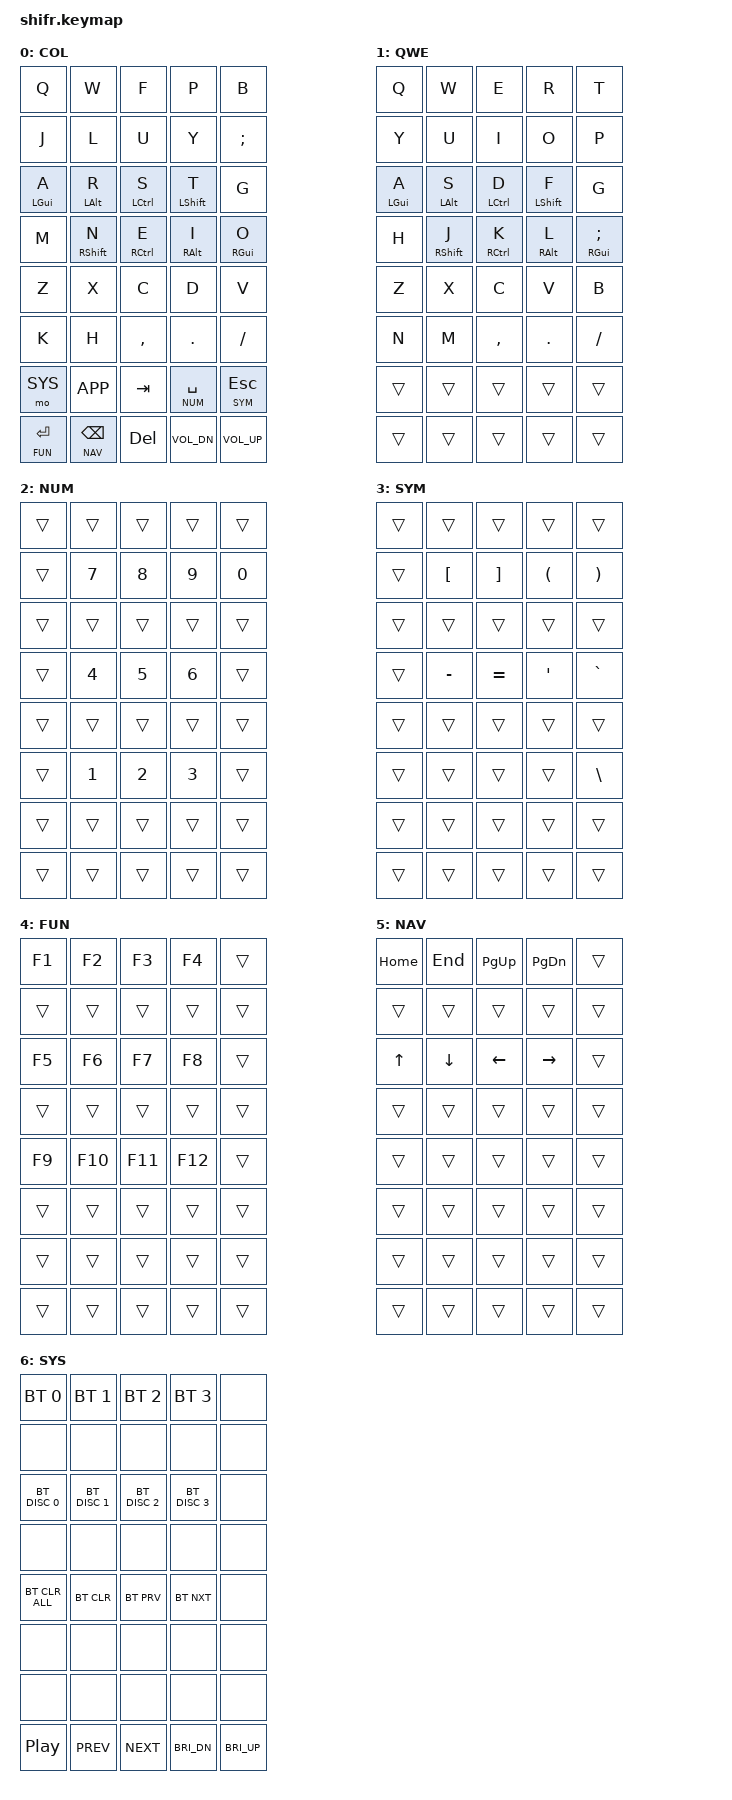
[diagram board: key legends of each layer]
#include <behaviors.dtsi>
#include <dt-bindings/zmk/bt.h>
#include <dt-bindings/zmk/keys.h>

#define COL 0
#define QWE 1
#define NUM 2
#define SYM 3
#define FUN 4
#define NAV 5
#define SYS 6

&lt {
    tapping-term-ms = <200>;
};

/ {

    behaviors {
        hm: homerow_mods {
            compatible = "zmk,behavior-hold-tap";
            #binding-cells = <2>;
            tapping-term-ms = <150>;
            quick-tap-ms = <0>;
            flavor = "tap-preferred";
            bindings = <&kp>, <&kp>;
        };
    };

/*-----------------------------------------------------Combos
│   Sleep   │     │     │     │     │     │     │PrintScreen│
│ Caps Lock │     │     │     │     │     │     │   Insert  │
│  Layouts  │     │     │     │     │     │     │Pause Break│
│ SYS │ MNU │ TAB │ SPC │ ESC │ ENT │ BKS │ DEL │    Mute   │
\----------------------------------------------------------*/

    combos {
        compatible = "zmk,combos";

        Sleep {
            bindings = <&kp C_SLEEP>;
            key-positions = <0 1>;
            layers = <COL QWE>;
        };

        CapsLock {
            bindings = <&kp CAPS>;
            key-positions = <10 11>;
            layers = <COL QWE>;
        };

        QWERTY {
            bindings = <&to QWE>;
            key-positions = <20 21>;
            layers = <COL>;
        };

        ColemakDH {
            bindings = <&to COL>;
            key-positions = <20 21>;
            layers = <QWE>;
        };

        PrintScreen {
            bindings = <&kp PSCRN>;
            key-positions = <8 9>;
            layers = <COL QWE>;
        };

        Insert {
            bindings = <&kp INS>;
            key-positions = <18 19>;
            layers = <COL QWE>;
        };

        PauseBreak {
            bindings = <&kp PAUSE_BREAK>;
            key-positions = <28 29>;
            layers = <COL QWE>;
        };

        Mute {
            bindings = <&kp C_MUTE>;
            key-positions = <38 39>;
            layers = <COL QWE>;
        };
    };

    keymap {
        compatible = "zmk,keymap";

/*--------------------------------------------------ColemakDH
│  Q  │  W  │  F  │  P  │  B  │  J  │  L  │  U  │  Y  │ ; : │
│GUI A│ALT R│CTR S│SHF T│  G  │  M  │SHF N│CTR E│ALT I│GUI O│
│  Z  │  X  │  C  │  D  │  V  │  K  │  H  │ , < │ . > │ / ? │
│ SYS │ MNU │ TAB │ SPC │ ESC │ ENT │ BKS │ DEL │ VOL-│ VOL+│
\----------------------------------------------------------*/

        COL {
            bindings = <
                &kp Q        &kp W         &kp F        &kp P          &kp B
                &kp J        &kp L         &kp U        &kp Y          &kp SEMI
                &hm LGUI A   &hm LALT R    &hm LCTRL S  &hm LSHFT T    &kp G
                &kp M        &hm RSHFT N   &hm RCTRL E  &hm RALT I     &hm RGUI O
                &kp Z        &kp X         &kp C        &kp D          &kp V
                &kp K        &kp H         &kp COMMA    &kp DOT        &kp FSLH
                &mo SYS      &kp K_APP     &kp TAB      &lt NUM SPACE  &lt SYM ESC
                &lt FUN RET  &lt NAV BSPC  &kp DEL      &kp C_VOL_DN   &kp C_VOL_UP
            >;
        };

/*-----------------------------------------------------QWERTY
│  Q  │  W  │  E  │  R  │  T  │  Y  │  U  │  I  │  O  │  P  │
│GUI A│ALT S│CTR D│SHF F│  G  │  H  │SHF J│CTR K│ALT L│GUI ;│
│  Z  │  X  │  C  │  V  │  B  │  N  │  M  │ , < │ . > │ / ? │
│ SYS │ MNU │ TAB │ SPC │ ESC │ ENT │ BKS │ DEL │ VOL-│ VOL+│
\----------------------------------------------------------*/

        QWE {
            bindings = <
                &kp Q       &kp W        &kp E        &kp R        &kp T
                &kp Y       &kp U        &kp I        &kp O        &kp P
                &hm LGUI A  &hm LALT S   &hm LCTRL D  &hm LSHFT F  &kp G
                &kp H       &hm RSHFT J  &hm RCTRL K  &hm RALT L   &hm RGUI SEMI
                &kp Z       &kp X        &kp C        &kp V        &kp B
                &kp N       &kp M        &kp COMMA    &kp DOT      &kp FSLH
                &trans      &trans       &trans       &trans       &trans
                &trans      &trans       &trans       &trans       &trans
            >;
        };

/*----------------------------------------------------Numeric
│     │     │     │     │     │     │ 7 & │ 8 * │ 9 ( │ 0 ) │
│     │     │     │     │     │     │ 4 % │ 5 % │ 6 ^ │     │
│     │     │     │     │     │     │ 1 ! │ 2 @ │ 3 @ │     │
│ SYS │ MNU │ TAB |     | ESC │ ENT │ BKS │ DEL │ VOL-│ VOL+│
\-----------------[ NUM ]----------------------------------*/

        NUM {
            bindings = <
                &trans  &trans  &trans  &trans  &trans
                &trans  &kp N7  &kp N8  &kp N9  &kp N0
                &trans  &trans  &trans  &trans  &trans
                &trans  &kp N4  &kp N5  &kp N6  &trans
                &trans  &trans  &trans  &trans  &trans
                &trans  &kp N1  &kp N2  &kp N3  &trans
                &trans  &trans  &trans  &trans  &trans
                &trans  &trans  &trans  &trans  &trans
            >;
        };

/*---------------------------------------------------Symbolic
│     │     │     │     │     │     │ [ { │ ] } │  (  │  )  │
│     │     │     │     │     │     │ - _ │ = + │ ' " │ ` ~ │
│     │     │     │     │     │     │     │     │     │ \ | │
│ SYS │ MNU │ TAB │ SPC |     | ENT │ BKS │ DEL │ VOL-│ VOL+│
\-----------------------[ SYM ]----------------------------*/

        SYM {
            bindings = <
                &trans  &trans     &trans     &trans    &trans
                &trans  &kp LBKT   &kp RBKT   &kp LPAR  &kp RPAR
                &trans  &trans     &trans     &trans    &trans
                &trans  &kp MINUS  &kp EQUAL  &kp SQT   &kp GRAVE
                &trans  &trans     &trans     &trans    &trans
                &trans  &trans     &trans     &trans    &kp BSLH
                &trans  &trans     &trans     &trans    &trans
                &trans  &trans     &trans     &trans    &trans
            >;
        };

/*---------------------------------------------------Function
│ F1  │ F2  │ F3  │ F4  │     │     │     │     │     │     │
│ F5  │ F6  │ F7  │ F8  │     │     │     │     │     │     │
│ F9  │ F10 │ F11 │ F12 │     │     │     │     │     │     │
│ SYS │ MNU │ TAB │ SPC │ ESC |     | BKS │ DEL │ VOL-│ VOL+│
\-----------------------------[ FUN ]----------------------*/

        FUN {
            bindings = <
                &kp F1  &kp F2   &kp F3   &kp F4   &trans
                &trans  &trans   &trans   &trans   &trans
                &kp F5  &kp F6   &kp F7   &kp F8   &trans
                &trans  &trans   &trans   &trans   &trans
                &kp F9  &kp F10  &kp F11  &kp F12  &trans
                &trans  &trans   &trans   &trans   &trans
                &trans  &trans   &trans   &trans   &trans
                &trans  &trans   &trans   &trans   &trans
            >;
        };

/*-------------------------------------------------Navigation
│ HOME│ END │ PGUP│PGDN │     │     │     │     │     │     │
│  UP │DOWN │ LEFT│RGHT │     │     │     │     │     │     │
│     │     │     │     │     │     │     │     │     │     │
│ SYS │ MNU │ TAB │ SPC │ ESC │ ENT |     | DEL │ VOL-│ VOL+│
\-----------------------------------[ NAV ]----------------*/

        NAV {
            bindings = <
                &kp HOME  &kp END   &kp PG_UP  &kp PG_DN  &trans
                &trans    &trans    &trans     &trans     &trans
                &kp UP    &kp DOWN  &kp LEFT   &kp RIGHT  &trans
                &trans    &trans    &trans     &trans     &trans
                &trans    &trans    &trans     &trans     &trans
                &trans    &trans    &trans     &trans     &trans
                &trans    &trans    &trans     &trans     &trans
                &trans    &trans    &trans     &trans     &trans
            >;
        };

/*-----------------------------------------------------System
│ BTS1│ BTS2│ BTS3│ BTS4│     │     │     │     │     │     │
│ BTD1│ BTD2│ BTD3│ BTD4│     │     │     │     │     │     │
│BTALL│BTCLR│BTPRV│BTNXT│     │     │     │     │     │     │
|     |     │     │     │     │ PLAY│ PREV│ NEXT│BRIG-│BRIG+│
[ SYS ]----------------------------------------------------*/

        SYS {
            bindings = <
                &bt BT_SEL 0    &bt BT_SEL 1   &bt BT_SEL 2   &bt BT_SEL 3   &none
                &none           &none          &none          &none          &none
                &bt BT_DISC 0   &bt BT_DISC 1  &bt BT_DISC 2  &bt BT_DISC 3  &none
                &none           &none          &none          &none          &none
                &bt BT_CLR_ALL  &bt BT_CLR     &bt BT_PRV     &bt BT_NXT     &none
                &none           &none          &none          &none          &none
                &none           &none          &none          &none          &none
                &kp C_PP        &kp C_PREV     &kp C_NEXT     &kp C_BRI_DN   &kp C_BRI_UP
            >;
        };
    };
};
